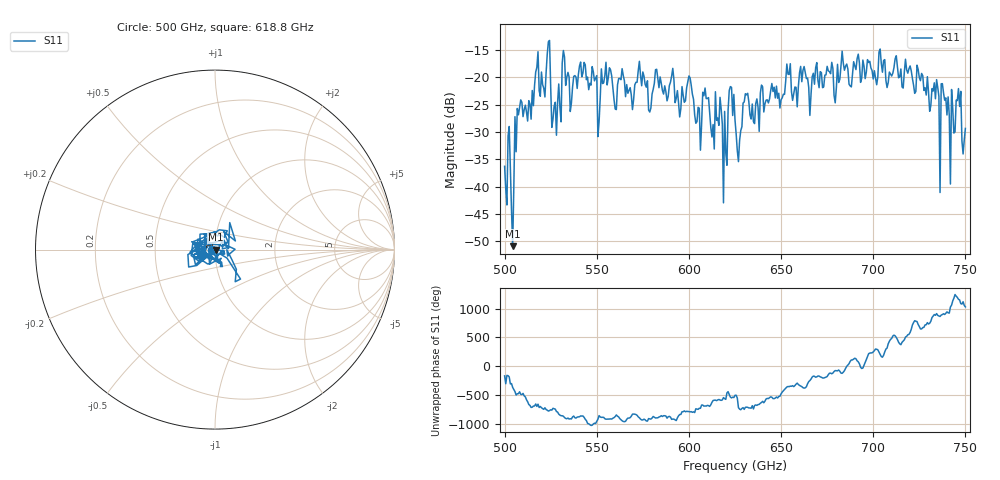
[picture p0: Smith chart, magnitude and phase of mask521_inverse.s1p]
!Created with skrf (http://scikit-rf.org).
# GHz S MA R 50.0
!freq magS11 angS11
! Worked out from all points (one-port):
!   401 points, 500 GHz to 750 GHz, reference 50 ohm
!   lowest |S11| = -50.9 dB at 504.4 GHz (marker M1), VSWR 1.01, Z = 50.3 - j0.0378 ohm
!   |S11| at or under -10 dB: start of sweep to end of sweep
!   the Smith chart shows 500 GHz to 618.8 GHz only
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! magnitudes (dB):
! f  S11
! 500 GHz  -36.3
! 504.4 GHz  -50.9
! 508.1 GHz  -25.6
! 523.8 GHz  -13.5
! 526.9 GHz  -25.3
! 531.2 GHz  -17.4
! 548.8 GHz  -20.7
! 550.6 GHz  -30.8
! 562.5 GHz  -20.2
! 593.8 GHz  -22.4
! 600 GHz  -19.8
! 605.6 GHz  -25.7
! 609.4 GHz  -23.9
! 612.5 GHz  -30.9
! 616.9 GHz  -23.7
! 619.4 GHz  -26.2
! 622.5 GHz  -21.7
! 625 GHz  -27.8
! 626.9 GHz  -35.4
! 630.6 GHz  -23.0
! 656.2 GHz  -24.2
! 687.5 GHz  -21.6
! 718.8 GHz  -19.3
! 735 GHz  -21.9
! 738.1 GHz  -22.8
! 743.1 GHz  -25.7
! 746.2 GHz  -22.1
! 750 GHz  -29.4
